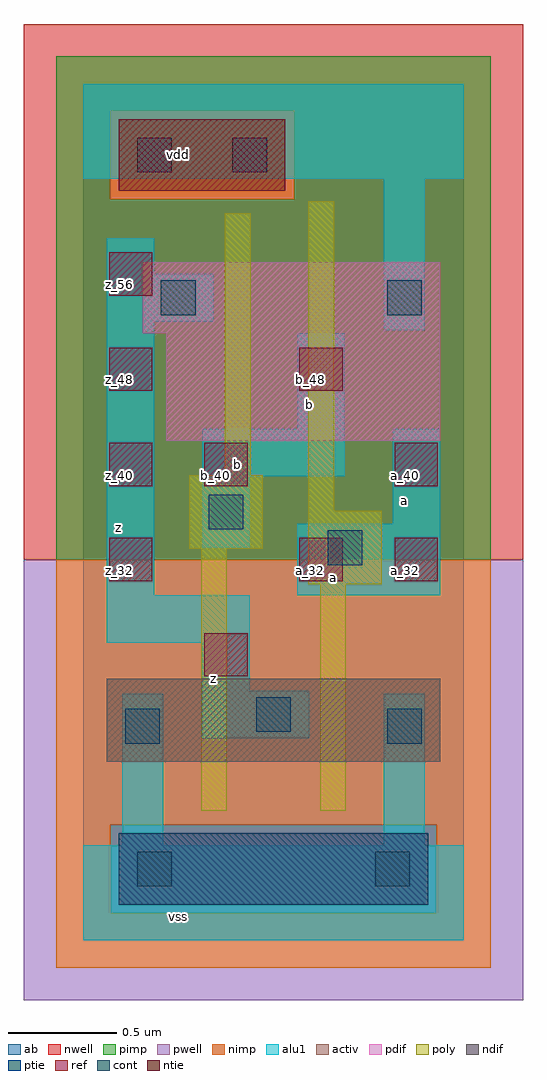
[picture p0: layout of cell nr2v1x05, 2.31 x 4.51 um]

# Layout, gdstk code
import gdstk
lib = gdstk.Library(unit=1e-6, precision=2.5e-09)
def R(c, l, rs):  # rectangles x0, y0, x1, y1
    for r in rs: c.add(gdstk.rectangle(r[:2], r[2:], *l))
def A(c, l, x, y, w, h, nx, ny, dx, dy):  # array of equal rectangles
    R(c, l, [(x+i*dx, y+j*dy, x+i*dx+w, y+j*dy+h) for i in range(nx) for j in range(ny)])
ndif = (3, 0)
pdif = (4, 0)
ntie = (5, 0)
ptie = (6, 0)
ref = (24, 0)
cont = (25, 0)
pwell = (41, 0)
nwell = (42, 0)
activ = (43, 0)
pimp = (44, 0)
nimp = (45, 0)
poly = (46, 0)
alu1 = (49, 0)
ab = (63, 0)

nr2v1x05 = lib.new_cell('nr2v1x05')
R(nr2v1x05, ndif, [(0.11,0.825,1.65,1.21)])
R(nr2v1x05, pdif, [(0.385,2.31,1.65,2.805), (0.275,2.805,1.65,3.135)])
R(nr2v1x05, ntie, [(0.165,3.465,0.935,3.795)])
R(nr2v1x05, ptie, [(0.165,0.165,1.595,0.495)])
A(nr2v1x05, ref, 0.12, 1.66, 0.2, 0.2, 1, 4, 0, 0.44)
R(nr2v1x05, ref, [(0.56,1.22,0.76,1.42), (1,1.66,1.2,1.86), (1.44,1.66,1.64,1.86), (0.56,2.1,0.76,2.3), (1.44,2.1,1.64,2.3), (1,2.54,1.2,2.74)])
R(nr2v1x05, cont, [(0.25,0.25,0.41,0.41), (1.35,0.25,1.51,0.41), (0.195,0.91,0.355,1.07), (1.405,0.91,1.565,1.07), (0.8,0.965,0.96,1.125), (1.13,1.735,1.29,1.895), (0.58,1.9,0.74,2.06), (0.36,2.89,0.52,3.05), (1.405,2.89,1.565,3.05), (0.25,3.55,0.41,3.71), (0.69,3.55,0.85,3.71)])
R(nr2v1x05, pwell, [(-0.275,-0.275,2.035,1.76)])
R(nr2v1x05, nwell, [(-0.275,1.76,2.035,4.235)])
R(nr2v1x05, activ, [(0.165,0.165,1.595,0.495), (0.11,0.825,1.65,1.21), (0.385,2.31,1.65,2.805), (0.275,2.805,1.65,3.135), (0.165,3.465,0.935,3.795)])
R(nr2v1x05, pimp, [(0.125,0.125,1.635,0.535), (-0.125,1.76,1.885,3.425), (-0.125,3.425,0.125,3.835), (0.975,3.425,1.885,3.835), (-0.125,3.835,1.885,4.085)])
R(nr2v1x05, nimp, [(-0.125,-0.125,1.885,0.125), (-0.125,0.125,0.125,0.535), (1.635,0.125,1.885,0.535), (-0.125,0.535,1.885,1.76), (0.125,3.425,0.975,3.835)])
R(nr2v1x05, poly, [(0.545,0.6,0.665,1.81), (1.095,0.6,1.215,1.645), (1.04,1.645,1.38,1.985), (0.49,1.81,0.83,2.15), (1.04,1.985,1.16,3.415), (0.655,2.15,0.775,3.36)])
R(nr2v1x05, alu1, [(0,0,1.76,0.44), (0.18,0.44,0.37,1.14), (1.39,0.44,1.58,1.14), (0.55,0.935,1.045,1.155), (0.55,1.155,0.77,1.375), (0.11,1.375,0.77,1.595), (0.11,1.595,0.33,2.86), (0.99,1.595,1.65,1.925), (0.55,1.815,0.77,2.145), (1.43,1.925,1.65,2.365), (0.55,2.145,1.21,2.365), (0.99,2.365,1.21,2.805), (1.39,2.82,1.58,3.52), (0.11,2.86,0.605,3.08), (0.11,3.08,0.33,3.245), (0,3.52,1.76,3.96)])
R(nr2v1x05, ab, [(0,0,1.76,3.96)])
nr2v1x05.add(gdstk.Label('vss', (0.44,0.11), layer=49, texttype=0))
nr2v1x05.add(gdstk.Label('z', (0.605,1.21), layer=49, texttype=0))
nr2v1x05.add(gdstk.Label('a', (1.155,1.6775), layer=49, texttype=0))
nr2v1x05.add(gdstk.Label('a', (1.485,2.035), layer=49, texttype=0))
nr2v1x05.add(gdstk.Label('b', (0.715,2.2), layer=49, texttype=0))
nr2v1x05.add(gdstk.Label('b', (1.045,2.475), layer=49, texttype=0))
nr2v1x05.add(gdstk.Label('z', (0.165,1.91), layer=49, texttype=0))
nr2v1x05.add(gdstk.Label('vdd', (0.44,3.63), layer=49, texttype=0))
nr2v1x05.add(gdstk.Label('z_24', (0.61,1.27), layer=24, texttype=0))
nr2v1x05.add(gdstk.Label('b_40', (0.61,2.15), layer=24, texttype=0))
nr2v1x05.add(gdstk.Label('a_32', (1.05,1.71), layer=24, texttype=0))
nr2v1x05.add(gdstk.Label('b_48', (1.05,2.59), layer=24, texttype=0))
nr2v1x05.add(gdstk.Label('a_32', (1.49,1.71), layer=24, texttype=0))
nr2v1x05.add(gdstk.Label('a_40', (1.49,2.15), layer=24, texttype=0))
nr2v1x05.add(gdstk.Label('z_32', (0.17,1.71), layer=24, texttype=0))
nr2v1x05.add(gdstk.Label('z_40', (0.17,2.15), layer=24, texttype=0))
nr2v1x05.add(gdstk.Label('z_48', (0.17,2.59), layer=24, texttype=0))
nr2v1x05.add(gdstk.Label('z_56', (0.17,3.03), layer=24, texttype=0))

lib.write_gds('nr2v1x05.gds')
